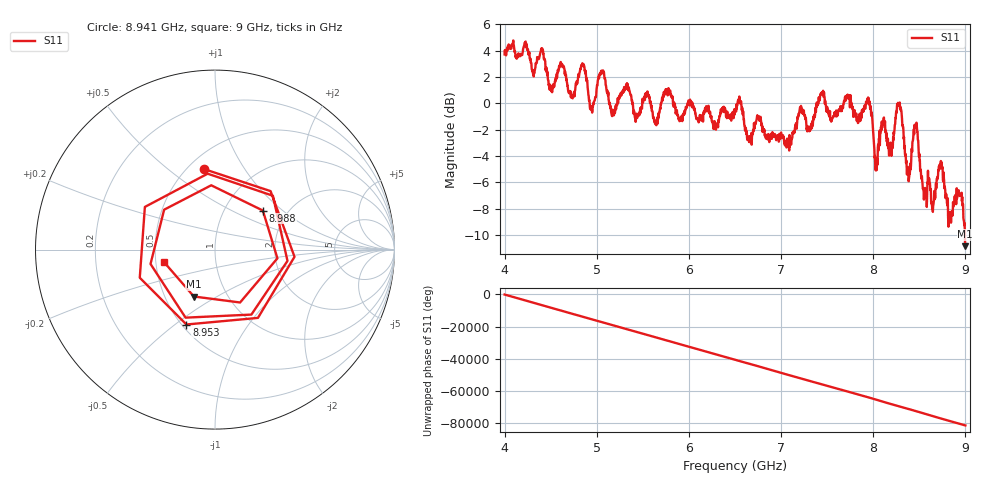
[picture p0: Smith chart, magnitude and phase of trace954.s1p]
! Created with skrf 1.8.0 (http://scikit-rf.org).
# Hz S RI R 50.0
!freq ReS11 ImS11
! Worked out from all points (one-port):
!   1601 points, 4 GHz to 9 GHz, reference 50 ohm
!   lowest |S11| = -10.9 dB at 8.997 GHz (marker M1), VSWR 1.80, Z = 34.8 - j19.8 ohm
!   |S11| at or under -10 dB: 8.994717 GHz to end of sweep
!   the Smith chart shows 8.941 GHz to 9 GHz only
!   S11 on the Smith chart (normalised r, x): 8.941 GHz: 0.60, +0.68; 8.953 GHz: 0.53, -0.55; 8.988 GHz: 1.51, +0.74; 9 GHz: 0.55, -0.08
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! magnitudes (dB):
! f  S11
! 4 GHz  3.7
! 4.406 GHz  4.2
! 4.512 GHz  0.9
! 4.625 GHz  3.0
! 4.734 GHz  0.4
! 4.856 GHz  3.0
! 4.941 GHz  -0.4
! 5.053 GHz  2.3
! 5.172 GHz  -0.5
! 5.25 GHz  0.6
! 5.875 GHz  -0.9
! 6.5 GHz  -0.6
! 7.125 GHz  -2.2
! 7.447 GHz  0.8
! 7.75 GHz  0.2
! 7.95 GHz  0.4
! 8.034 GHz  -4.5
! 8.281 GHz  -0.1
! 8.375 GHz  -5.2
! 8.459 GHz  -1.9
! 8.559 GHz  -6.4
! 8.728 GHz  -4.6
! 8.838 GHz  -8.3
! 8.941 GHz  -6.9
! 8.953 GHz  -7.0
! 8.988 GHz  -9.3
! 8.997 GHz  -10.9
! 9 GHz  -10.7
